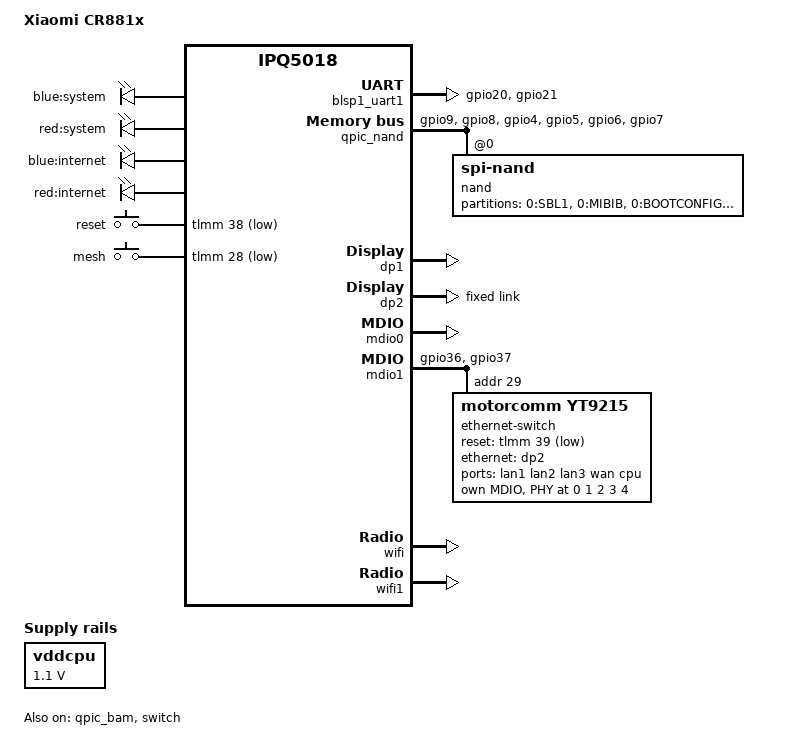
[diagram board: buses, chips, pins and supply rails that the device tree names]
// SPDX-License-Identifier: (GPL-2.0+)

/dts-v1/;

#include "ipq5018.dtsi"
#include "ipq5018-ess.dtsi"
#include "ipq5018-qcn6122.dtsi"
#include <dt-bindings/net/qcom-ipq-ess.h>
#include <dt-bindings/gpio/gpio.h>
#include <dt-bindings/input/input.h>

/ {
	model = "Xiaomi CR881x";
	compatible = "xiaomi,cr881x", "qcom,ipq5018";

	aliases {
		serial0 = &blsp1_uart1;

		label-mac-device = &dp1;

		ethernet0 = &dp2;

		led-boot = &led_system_blue;
		led-failsafe = &led_system_red;
		led-running = &led_system_blue;
		led-upgrade = &led_system_red;
	};

	chosen {
		// Override the root parameter from u-boot
		// Increase coherent_pool size for WiFi
		bootargs-append = " root=/dev/ubiblock0_1 coherent_pool=2M";
		stdout-path = "serial0:115200n8";
	};

};

&tlmm {
	blsp_uart0_pins: blsp_uart0_pins {
		pins =
			"gpio20", /* RX */
			"gpio21"; /* TX */
		function = "blsp0_uart0";
		drive-strength = <8>;
		bias-disable;
	};

	qspi_nand_pins: qspi_nand_pins {
		clock {
			pins = "gpio9";
			function = "qspi_clk";
			drive-strength = <8>;
			bias-disable;
		};

		cs {
			pins = "gpio8";
			function = "qspi_cs";
			drive-strength = <8>;
			bias-disable;
		};

		data {
			pins = "gpio4", "gpio5", "gpio6", "gpio7";
			function = "qspi_data";
			drive-strength = <8>;
			bias-disable;
		};
	};

	mdio1_pins: mdio1_pins {
		mdc {
			pins = "gpio36";
			function = "mdc";
			drive-strength = <8>;
			bias-pull-up;
		};

		mdio {
			pins = "gpio37";
			function = "mdio";
			drive-strength = <8>;
			bias-pull-up;
		};
	};

	leds_pins: leds_pins {
		led_system_blue {
			pins = "gpio24";
			function = "gpio";
			drive-strength = <8>;
			bias-pull-down;
		};

		led_system_red {
			pins = "gpio25";
			function = "gpio";
			drive-strength = <8>;
			bias-pull-down;
		};

		led_internet_blue {
			pins = "gpio26";
			function = "gpio";
			drive-strength = <8>;
			bias-pull-down;
		};

		led_internet_red {
			pins = "gpio27";
			function = "gpio";
			drive-strength = <8>;
			bias-pull-down;
		};
	};

	button_pins: button_pins {
		button_reset {
			pins = "gpio38";
			function = "gpio";
			drive-strength = <8>;
			bias-pull-up;
		};

		button_mesh {
			pins = "gpio28";
			function = "gpio";
			drive-strength = <8>;
			bias-pull-up;
		};
	};

	vddcpu: regulator-vddcpu {
		compatible = "regulator-fixed";
		regulator-name = "vddcpu";
		regulator-min-microvolt = <1100000>;
		regulator-max-microvolt = <1100000>;
		regulator-always-on;
	};
};

&sleep_clk {
	clock-frequency = <32768>;
};

&cpu0 {
	cpu-supply = <&vddcpu>;
};

&cpu1 {
	cpu-supply = <&vddcpu>;
};

&blsp1_uart1 {
	pinctrl-0 = <&blsp_uart0_pins>;
	pinctrl-names = "default";
	status = "okay";
};

&qpic_bam {
	status = "okay";
};

&qpic_nand {
	pinctrl-0 = <&qspi_nand_pins>;
	pinctrl-names = "default";
	status = "okay";

	nand@0 {
		compatible = "spi-nand";
		reg = <0>;
		#address-cells = <1>;
		#size-cells = <1>;

		nand-ecc-engine = <&qpic_nand>;
		nand-bus-width = <8>;

		partitions {
			compatible = "fixed-partitions";
			#address-cells = <1>;
			#size-cells = <1>;

			partition@0 {
				label = "0:SBL1";
				reg = <0x00000000 0x00080000>;
				read-only;
			};

			partition@80000 {
				label = "0:MIBIB";
				reg = <0x00080000 0x00080000>;
				read-only;
			};

			partition@100000 {
				label = "0:BOOTCONFIG";
				reg = <0x00100000 0x00040000>;
				read-only;
			};

			partition@140000 {
				label = "0:BOOTCONFIG1";
				reg = <0x00140000 0x00040000>;
				read-only;
			};

			partition@180000 {
				label = "0:QSEE";
				reg = <0x00180000 0x00100000>;
				read-only;
			};

			partition@280000 {
				label = "0:QSEE_1";
				reg = <0x00280000 0x00100000>;
				read-only;
			};

			partition@380000 {
				label = "0:DEVCFG";
				reg = <0x00380000 0x00040000>;
				read-only;
			};

			partition@3c0000 {
				label = "0:DEVCFG_1";
				reg = <0x003c0000 0x00040000>;
				read-only;
			};

			partition@400000 {
				label = "0:CDT";
				reg = <0x00400000 0x00040000>;
				read-only;
			};

			partition@440000 {
				label = "0:CDT_1";
				reg = <0x00440000 0x00040000>;
				read-only;
			};

			partition@480000 {
				label = "0:APPSBLENV";
				reg = <0x00480000 0x00080000>;
			};

			partition@500000 {
				label = "0:APPSBL";
				reg = <0x00500000 0x00140000>;
				read-only;
			};

			partition@640000 {
				label = "0:APPSBL_1";
				reg = <0x00640000 0x00140000>;
				read-only;
			};

			partition@780000 {
				label = "0:ART";
				reg = <0x00780000 0x00100000>;
				read-only;

				art: nvmem-layout {
					compatible = "fixed-layout";
					#address-cells = <1>;
					#size-cells = <1>;

					mac_addr_dp1: macaddr@0 {
						reg = <0x0 0x6>;
					};

					mac_addr_dp2: macaddr@6 {
						reg = <0x6 0x6>;
					};
				};
			};

			partition@880000 {
				label = "0:TRAINING";
				reg = <0x00880000 0x00080000>;
				read-only;
			};

			partition@900000 {
				label = "bdata";
				reg = <0x00900000 0x00080000>;
			};

			partition@980000 {
				label = "crash";
				reg = <0x00980000 0x00080000>;
			};

			partition@a00000 {
				label = "crash_syslog";
				reg = <0x00a00000 0x00080000>;
			};

			partition@a80000 {
				label = "rootfs";
				reg = <0x00a80000 0x01e00000>;
			};

			partition@2880000 {
				label = "rootfs_1";
				reg = <0x02880000 0x01e00000>;
			};

			partition@4680000 {
				label = "overlay";
				reg = <0x04680000 0x03980000>;
			};
		};
	};
};

&soc {
	leds {
		compatible = "gpio-leds";
		pinctrl-0 = <&leds_pins>;
		pinctrl-names = "default";

		led_system_blue: led_system_blue {
			label = "blue:system";
			gpio = <&tlmm 24 GPIO_ACTIVE_HIGH>;
			default-state = "on";
		};

		led_system_red: led_system_red {
			label = "red:system";
			gpio = <&tlmm 25 GPIO_ACTIVE_HIGH>;
		};

		led_internet_blue: led_internet_blue {
			label = "blue:internet";
			gpio = <&tlmm 26 GPIO_ACTIVE_HIGH>;
		};

		led_internet_red: led_internet_red {
			label = "red:internet";
			gpio = <&tlmm 27 GPIO_ACTIVE_HIGH>;
		};
	};

	button {
		compatible = "gpio-keys";
		pinctrl-0 = <&button_pins>;
		pinctrl-names = "default";

		button_reset {
			label = "reset";
			gpios = <&tlmm 38 GPIO_ACTIVE_LOW>;
			linux,input-type = <EV_KEY>;
			linux,code = <KEY_RESTART>;
			debounce-interval = <60>;
		};

		button_mesh {
			label = "mesh";
			gpios = <&tlmm 28 GPIO_ACTIVE_LOW>;
			linux,input-type = <EV_KEY>;
			linux,code = <KEY_WPS_BUTTON>;
			debounce-interval = <60>;
		};
	};
};

&switch {
	status = "okay";

	// TODO: YT9215 supports 2500base-x
	switch_mac_mode = <MAC_MODE_SGMII_CHANNEL0>;
	switch_mac_mode1 = <MAC_MODE_DISABLED>;
	switch_mac_mode2 = <MAC_MODE_DISABLED>;

	// ESS port bitmaps (match MAC0/MAC1 usage in qcom,port_phyinfo)
	switch_cpu_bmp = <ESS_PORT0>;
	switch_wan_bmp = <ESS_PORT1>;
	switch_lan_bmp = <ESS_PORT2>;
	switch_inner_bmp = <ESS_PORT7>;

	qcom,port_phyinfo {
		// MAC0 -> GE Phy --- YT9215 Phy4
		port@0 {
			port_id = <1>;
			mdiobus = <&mdio0>;
			phy_address = <7>;
			phy_dac = <0x10 0x10>;
		};

		// MAC1 -> Uniphy --- SGMII --- YT9215 Phy8
		port@1 {
			port_id = <2>;
			forced-speed = <1000>;
			forced-duplex = <1>;
		};
	};
};

&dp1 {
	status = "okay";

	nvmem-cells = <&mac_addr_dp1 0>;
	nvmem-cell-names = "mac-address";
};

&dp2 {
	status = "okay";

	nvmem-cells = <&mac_addr_dp2 0>;
	nvmem-cell-names = "mac-address";

	fixed-link {
		speed = <1000>;
		full-duplex;
		pause;
		asym-pause;
	};
};


&mdio0 {
	status = "okay";
};

// IPQ5018 GE Phy -> YT9215 Phy4
&ge_phy {
	qcom,dac-preset-short-cable;
};

&mdio1 {
	pinctrl-0 = <&mdio1_pins>;
	pinctrl-names = "default";
	status = "okay";

	// Motorcomm YT9215
	ethernet-switch@1d {
		compatible = "motorcomm,yt9215";
		reg = <0x1d>;

		reset-gpios = <&tlmm 39 GPIO_ACTIVE_LOW>;
		reset-assert-us = <10000>; /* 10ms */
		reset-deassert-us = <50000>; /* 50ms */

		mdio {
			#address-cells = <1>;
			#size-cells = <0>;

			sw_phy0: phy@0 {
				reg = <0>;
			};

			sw_phy1: phy@1 {
				reg = <1>;
			};

			sw_phy2: phy@2 {
				reg = <2>;
			};

			sw_phy3: phy@3 {
				reg = <3>;
			};

			sw_phy4: phy@4 {
				reg = <4>;
			};
		};

		ports {
			#address-cells = <1>;
			#size-cells = <0>;

			// MAC0 -> Phy0 -> LAN1
			port@0 {
				reg = <0>;
				label = "lan1";
				phy-mode = "internal";
				phy-handle = <&sw_phy0>;
			};

			// MAC1 -> Phy1 -> LAN2
			port@1 {
				reg = <1>;
				label = "lan2";
				phy-mode = "internal";
				phy-handle = <&sw_phy1>;
			};

			// MAC2 -> Phy2 -> LAN3
			port@2 {
				reg = <2>;
				label = "lan3";
				phy-mode = "internal";
				phy-handle = <&sw_phy2>;
			};

			// MAC3 -> Phy3 -> WAN
			port@3 {
				reg = <3>;
				label = "wan";
				phy-mode = "internal";
				phy-handle = <&sw_phy3>;
			};

			// MAC4 -> Phy4 -> IPQ5018 GE Phy (unused in DSA)
			port@4 {
				reg = <4>;
				label = "cpu";
				phy-mode = "internal";
				phy-handle = <&sw_phy4>;
			};

			// MAC8 ---SGMII---> IPQ5018 MAC1 (CPU: eth1)
			port@8 {
				reg = <8>;
				phy-mode = "sgmii";
				ethernet = <&dp2>;
				fixed-link {
					speed = <1000>;
					full-duplex;
					pause;
					asym-pause;
				};
			};
		};
	};
};

&q6v5_wcss {
	memory-region = <&q6_region>;
	firmware-name = "ath11k/IPQ5018/hw1.0/q6_fw.mdt",
			"ath11k/IPQ5018/hw1.0/m3_fw.mdt",
			"ath11k/QCN6122/hw1.0/m3_fw.mdt";

	qcom,bootargs_smem = <507>;
	boot-args = </*       type: */ 0x2 /* PCIE1 */
		     /*     length: */ 4
		     /*      PD id: */ 2
		     /* reset GPIO: */ 18
		     /*   reserved: */ 0 0>;
};

&wifi {
	// IPQ5018
	qcom,rproc = <&q6_wcss_pd1>;

	qcom,board_id = <0x23>;
	qcom,ath11k-calibration-variant = "Xiaomi-CR8818";

	// qcom,ath11k-fw-memory-mode = <0>;
	// qcom,bdf-addr = <0x4c400000>;
	// qcom,caldb-addr = <0x4d200000>;
	// qcom,m3-dump-addr = <0x4d400000>;

	qcom,ath11k-fw-memory-mode = <1>;
	qcom,bdf-addr = <0x4c400000>;

	status = "okay";
};

&wifi1 {
	// QCN6102
	qcom,rproc = <&q6_wcss_pd2>;
	qcom,userpd-subsys-name = "q6v5_wcss_userpd2";

	qcom,board_id = <0x60>;
	qcom,ath11k-calibration-variant = "Xiaomi-CR8818";

	// qcom,ath11k-fw-memory-mode = <0>;
	// qcom,bdf-addr = <0x4d500000>;
	// qcom,caldb-addr = <0x4e500000>;
	// qcom,m3-dump-addr = <0x4ea00000>;

	qcom,ath11k-fw-memory-mode = <1>;
	qcom,bdf-addr = <0x4d100000>;
	qcom,m3-dump-addr = <0x4df00000>;

	status = "okay";
};
